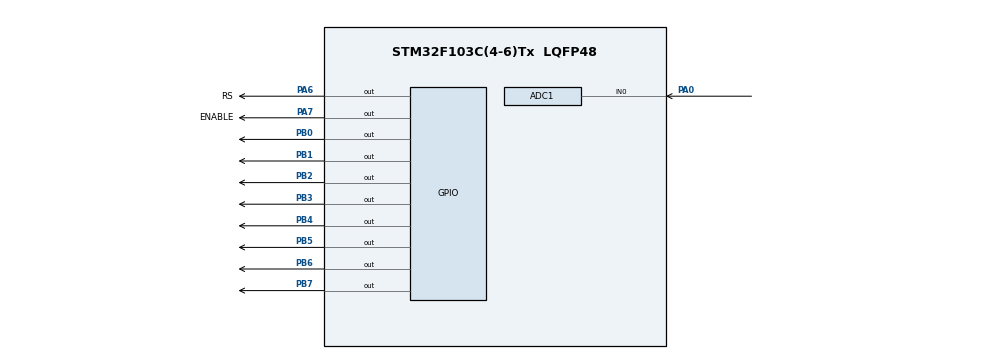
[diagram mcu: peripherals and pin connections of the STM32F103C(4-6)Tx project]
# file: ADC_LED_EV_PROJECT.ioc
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ADC1.Channel-0\#ChannelRegularConversion=ADC_CHANNEL_0
ADC1.ContinuousConvMode=ENABLE
ADC1.NbrOfConversionFlag=1
ADC1.Rank-0\#ChannelRegularConversion=1
ADC1.SamplingTime-0\#ChannelRegularConversion=ADC_SAMPLETIME_1CYCLE_5
ADC1.master=1
Mcu.Family=STM32F1
Mcu.Name=STM32F103C(4-6)Tx
Mcu.Package=LQFP48
NVIC.PriorityGroup=NVIC_PRIORITYGROUP_4
PA0-WKUP.Signal=ADCx_IN0
PA6.GPIO_Label=RS
PA6.Signal=GPIO_Output
PA7.GPIO_Label=ENABLE
PA7.Signal=GPIO_Output
PB0.Signal=GPIO_Output
PB1.Signal=GPIO_Output
PB2.Signal=GPIO_Output
PB3.Signal=GPIO_Output
PB4.Signal=GPIO_Output
PB5.Signal=GPIO_Output
PB6.Signal=GPIO_Output
PB7.Signal=GPIO_Output
ProjectManager.HeapSize=0x200
ProjectManager.StackSize=0x400
ProjectManager.TargetToolchain=STM32CubeIDE
RCC.APB1Freq_Value=8000000
RCC.APB2Freq_Value=8000000
SH.ADCx_IN0.0=ADC1_IN0,IN0
VP_SYS_VS_ND.Mode=No_Debug
board=custom

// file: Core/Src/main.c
/* USER CODE BEGIN Header */
/**
  ******************************************************************************
  * @file           : main.c
  * @brief          : Main program body
  ******************************************************************************
  * @attention
  *
  * Copyright (c) 2025 STMicroelectronics.
  * All rights reserved.
  *
  * This software is licensed under terms that can be found in the LICENSE file
  * in the root directory of this software component.
  * If no LICENSE file comes with this software, it is provided AS-IS.
  *
  ******************************************************************************
  */
/* USER CODE END Header */
#include "main.h"

ADC_HandleTypeDef hadc1;

void SystemClock_Config(void);
static void MX_GPIO_Init(void);
static void MX_ADC1_Init(void);

int main(void)
{

  /* USER CODE BEGIN 1 */
    uint8_t LCD_val;
    uint8_t str[]  = {"STM32 Tutorials"};
    uint8_t str1[] = {"Embedded Systems"};
    uint32_t ADC_val;
  /* USER CODE END 1 */

  /* MCU Configuration--------------------------------------------------------*/

  /* Reset of all peripherals, Initializes the Flash interface and the Systick. */
  HAL_Init();

  /* Configure the system clock */
  SystemClock_Config();

  /* Initialize all configured peripherals */
  MX_GPIO_Init();
  MX_ADC1_Init();
  /* USER CODE BEGIN 2 */
  LCD_init();
  /* USER CODE END 2 */

  /* Infinite loop */
  while (1)
  {

    /* USER CODE BEGIN 3 */
    HAL_ADC_Start(&hadc1);

       LCD(0x81, 0);                    /* set cursor to 1st line (example) */
    for (LCD_val = 0; LCD_val < 15; LCD_val++)
    {
      LCD(str[LCD_val], 1);
    }

        LCD(0xC1, 0);                    /* set cursor to 2nd line (example) */
    for (LCD_val = 0; LCD_val < 15; LCD_val++)
    {
      LCD(str1[LCD_val], 1);
    }

    HAL_Delay(300);
    HAL_Delay(300);

    HAL_ADC_PollForConversion(&hadc1, 100);
    ADC_val = HAL_ADC_GetValue(&hadc1);

    LCD(0x94, 0);   /* set cursor position for showing label */
    LCD('A', 1);
    LCD('D', 1);
    LCD('C', 1);
    LCD(' ', 1);
    LCD('V', 1);
    LCD('A', 1);
    LCD('L', 1);
    LCD(':', 1);
    disp_ADC_Val(ADC_val);
    HAL_ADC_Stop(&hadc1);

      }
  /* USER CODE END 3 */
}

void SystemClock_Config(void)
{
  RCC_OscInitTypeDef RCC_OscInitStruct = {0};
  RCC_ClkInitTypeDef RCC_ClkInitStruct = {0};
  RCC_PeriphCLKInitTypeDef PeriphClkInit = {0};

  /** Initializes the RCC Oscillators according to the specified parameters
  * in the RCC_OscInitTypeDef structure.
  */
  RCC_OscInitStruct.OscillatorType = RCC_OSCILLATORTYPE_HSI;
  RCC_OscInitStruct.HSIState = RCC_HSI_ON;
  RCC_OscInitStruct.HSICalibrationValue = RCC_HSICALIBRATION_DEFAULT;
  RCC_OscInitStruct.PLL.PLLState = RCC_PLL_NONE;
  if (HAL_RCC_OscConfig(&RCC_OscInitStruct) != HAL_OK)
  {
    Error_Handler();
  }

  /** Initializes the CPU, AHB and APB buses clocks
  */
  RCC_ClkInitStruct.ClockType = RCC_CLOCKTYPE_HCLK|RCC_CLOCKTYPE_SYSCLK
                              |RCC_CLOCKTYPE_PCLK1|RCC_CLOCKTYPE_PCLK2;
  RCC_ClkInitStruct.SYSCLKSource = RCC_SYSCLKSOURCE_HSI;
  RCC_ClkInitStruct.AHBCLKDivider = RCC_SYSCLK_DIV1;
  RCC_ClkInitStruct.APB1CLKDivider = RCC_HCLK_DIV1;
  RCC_ClkInitStruct.APB2CLKDivider = RCC_HCLK_DIV1;

  if (HAL_RCC_ClockConfig(&RCC_ClkInitStruct, FLASH_LATENCY_0) != HAL_OK)
  {
    Error_Handler();
  }
  PeriphClkInit.PeriphClockSelection = RCC_PERIPHCLK_ADC;
  PeriphClkInit.AdcClockSelection = RCC_ADCPCLK2_DIV2;
  if (HAL_RCCEx_PeriphCLKConfig(&PeriphClkInit) != HAL_OK)
  {
    Error_Handler();
  }
}

static void MX_ADC1_Init(void)
{

  ADC_ChannelConfTypeDef sConfig = {0};

  /** Common config
  */
  hadc1.Instance = ADC1;
  hadc1.Init.ScanConvMode = ADC_SCAN_DISABLE;
  hadc1.Init.ContinuousConvMode = ENABLE;
  hadc1.Init.DiscontinuousConvMode = DISABLE;
  hadc1.Init.ExternalTrigConv = ADC_SOFTWARE_START;
  hadc1.Init.DataAlign = ADC_DATAALIGN_RIGHT;
  hadc1.Init.NbrOfConversion = 1;
  if (HAL_ADC_Init(&hadc1) != HAL_OK)
  {
    Error_Handler();
  }

  /** Configure Regular Channel
  */
  sConfig.Channel = ADC_CHANNEL_0;
  sConfig.Rank = ADC_REGULAR_RANK_1;
  sConfig.SamplingTime = ADC_SAMPLETIME_1CYCLE_5;
  if (HAL_ADC_ConfigChannel(&hadc1, &sConfig) != HAL_OK)
  {
    Error_Handler();
  }

}

static void MX_GPIO_Init(void)
{
  GPIO_InitTypeDef GPIO_InitStruct = {0};

  /* GPIO Ports Clock Enable */
  __HAL_RCC_GPIOA_CLK_ENABLE();
  __HAL_RCC_GPIOB_CLK_ENABLE();

  /*Configure GPIO pin Output Level */
  HAL_GPIO_WritePin(GPIOA, RS_Pin|ENABLE_Pin, GPIO_PIN_RESET);

  /*Configure GPIO pin Output Level */
  HAL_GPIO_WritePin(GPIOB, GPIO_PIN_0|GPIO_PIN_1|GPIO_PIN_2|GPIO_PIN_3
                          |GPIO_PIN_4|GPIO_PIN_5|GPIO_PIN_6|GPIO_PIN_7, GPIO_PIN_RESET);

  /*Configure GPIO pins : RS_Pin ENABLE_Pin */
  GPIO_InitStruct.Pin = RS_Pin|ENABLE_Pin;
  GPIO_InitStruct.Mode = GPIO_MODE_OUTPUT_PP;
  GPIO_InitStruct.Pull = GPIO_NOPULL;
  GPIO_InitStruct.Speed = GPIO_SPEED_FREQ_LOW;
  HAL_GPIO_Init(GPIOA, &GPIO_InitStruct);

  /*Configure GPIO pins : PB0 PB1 PB2 PB3
                           PB4 PB5 PB6 PB7 */
  GPIO_InitStruct.Pin = GPIO_PIN_0|GPIO_PIN_1|GPIO_PIN_2|GPIO_PIN_3
                          |GPIO_PIN_4|GPIO_PIN_5|GPIO_PIN_6|GPIO_PIN_7;
  GPIO_InitStruct.Mode = GPIO_MODE_OUTPUT_PP;
  GPIO_InitStruct.Pull = GPIO_NOPULL;
  GPIO_InitStruct.Speed = GPIO_SPEED_FREQ_LOW;
  HAL_GPIO_Init(GPIOB, &GPIO_InitStruct);

}

/* USER CODE BEGIN 4 */
void LCD_init(void)
{
  /* The exact sequence/commands below are taken from screenshots */
  LCD(0x38, 0);   /* 2 lines, 5x7 matrix */
  /*LCD(0x0C, 0);*/ /* Display on, cursor off (optionally used) */
  LCD(0x0E, 0);   /* Display on, cursor blinking */
  LCD(0x06, 0);   /* Increment cursor (shift cursor to right) */
  LCD(0x01, 0);   /* Clear display screen */
  LCD(0x80, 0);   /* Force cursor to beginning (1st line) */
}

void LCD(uint8_t val_1, uint8_t cmd)
{
  uint8_t data1;

  /* set RS = cmd; (cmd=0 => Command; cmd=1 => Data) */
  HAL_GPIO_WritePin(GPIOA, GPIO_PIN_6,cmd);
  /* mask bits and assign to GPIOB PIN0..PIN7 */
  data1 = (val_1 & 0x01);
  HAL_GPIO_WritePin(GPIOB, GPIO_PIN_0, data1);

  data1 = ((val_1 >> 1) & 0x01);
  HAL_GPIO_WritePin(GPIOB, GPIO_PIN_1, data1);

  data1 = ((val_1 >> 2) & 0x01);
  HAL_GPIO_WritePin(GPIOB, GPIO_PIN_2, data1 );

  data1 = ((val_1 >> 3) & 0x01);
  HAL_GPIO_WritePin(GPIOB, GPIO_PIN_3, data1);

  data1 = ((val_1 >> 4) & 0x01);
  HAL_GPIO_WritePin(GPIOB, GPIO_PIN_4, data1);

  data1 = ((val_1 >> 5) & 0x01);
  HAL_GPIO_WritePin(GPIOB, GPIO_PIN_5, data1);

  data1 = ((val_1 >> 6) & 0x01);
  HAL_GPIO_WritePin(GPIOB, GPIO_PIN_6, data1);

  data1 = ((val_1 >> 7) & 0x01);
  HAL_GPIO_WritePin(GPIOB, GPIO_PIN_7, data1);

  /* Enable pulse */
  HAL_GPIO_WritePin(GPIOA, GPIO_PIN_7, GPIO_PIN_SET);
  HAL_Delay(5);
  HAL_GPIO_WritePin(GPIOA, GPIO_PIN_7, GPIO_PIN_RESET);
  HAL_Delay(5);
}

void disp_ADC_Val(uint32_t val)
{
  uint32_t lval;
  lval = val;
  lval = lval / 1000;

  LCD(0x9C, 0);
  LCD((lval + 48), 1);

  lval = (val / 100) % 10;
  LCD((lval + 48), 1);

  lval = (val / 10) % 10;
  LCD((lval + 48), 1);

  lval = (val % 10);
  LCD((lval + 48), 1);
}

/* USER CODE END 4 */

void Error_Handler(void)
{
  __disable_irq();
  while (1)
  {
  }
}
